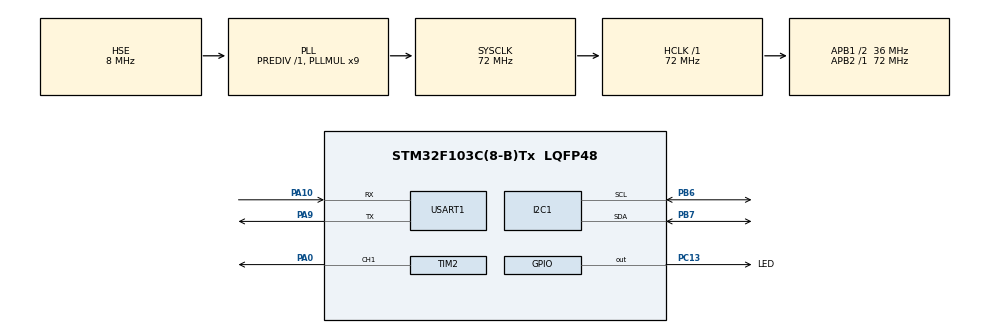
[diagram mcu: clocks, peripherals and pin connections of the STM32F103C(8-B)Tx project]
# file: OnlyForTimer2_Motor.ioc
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Dma.Request0=USART1_RX
Dma.Request1=USART1_TX
Dma.USART1_RX.0.Direction=DMA_PERIPH_TO_MEMORY
Dma.USART1_RX.0.Instance=DMA1_Channel5
Dma.USART1_RX.0.MemDataAlignment=DMA_MDATAALIGN_BYTE
Dma.USART1_RX.0.MemInc=DMA_MINC_ENABLE
Dma.USART1_RX.0.Mode=DMA_CIRCULAR
Dma.USART1_RX.0.PeriphDataAlignment=DMA_PDATAALIGN_BYTE
Dma.USART1_RX.0.PeriphInc=DMA_PINC_DISABLE
Dma.USART1_RX.0.Priority=DMA_PRIORITY_LOW
Dma.USART1_TX.1.Direction=DMA_MEMORY_TO_PERIPH
Dma.USART1_TX.1.Instance=DMA1_Channel4
Dma.USART1_TX.1.MemDataAlignment=DMA_MDATAALIGN_BYTE
Dma.USART1_TX.1.MemInc=DMA_MINC_ENABLE
Dma.USART1_TX.1.Mode=DMA_NORMAL
Dma.USART1_TX.1.PeriphDataAlignment=DMA_PDATAALIGN_BYTE
Dma.USART1_TX.1.PeriphInc=DMA_PINC_DISABLE
Dma.USART1_TX.1.Priority=DMA_PRIORITY_LOW
Mcu.Family=STM32F1
Mcu.Name=STM32F103C(8-B)Tx
Mcu.Package=LQFP48
NVIC.DMA1_Channel4_IRQn=true\:0\:0\:false\:false\:true\:false\:true
NVIC.DMA1_Channel5_IRQn=true\:0\:0\:false\:false\:true\:false\:true
NVIC.PriorityGroup=NVIC_PRIORITYGROUP_4
NVIC.TIM3_IRQn=true\:13\:0\:true\:false\:true\:true\:true
NVIC.USART1_IRQn=true\:0\:0\:false\:false\:true\:true\:true
PA0-WKUP.Signal=S_TIM2_CH1_ETR
PA10.GPIO_PuPd=GPIO_PULLUP
PA10.Mode=Asynchronous
PA10.Signal=USART1_RX
PA13.Mode=Serial_Wire
PA13.Signal=SYS_JTMS-SWDIO
PA14.Mode=Serial_Wire
PA14.Signal=SYS_JTCK-SWCLK
PA9.Mode=Asynchronous
PA9.Signal=USART1_TX
PB6.Mode=I2C
PB6.Signal=I2C1_SCL
PB7.Mode=I2C
PB7.Signal=I2C1_SDA
PC13-TAMPER-RTC.GPIO_Label=LED
PC13-TAMPER-RTC.Signal=GPIO_Output
PC14-OSC32_IN.Mode=LSE-External-Oscillator
PC14-OSC32_IN.Signal=RCC_OSC32_IN
PC15-OSC32_OUT.Mode=LSE-External-Oscillator
PC15-OSC32_OUT.Signal=RCC_OSC32_OUT
PD0-OSC_IN.Mode=HSE-External-Oscillator
PD0-OSC_IN.Signal=RCC_OSC_IN
PD1-OSC_OUT.Mode=HSE-External-Oscillator
PD1-OSC_OUT.Signal=RCC_OSC_OUT
ProjectManager.HeapSize=0x200
ProjectManager.StackSize=0x400
ProjectManager.TargetToolchain=MDK-ARM V5
RCC.AHBFreq_Value=72000000
RCC.APB1CLKDivider=RCC_HCLK_DIV2
RCC.APB1Freq_Value=36000000
RCC.APB1TimFreq_Value=72000000
RCC.APB2Freq_Value=72000000
RCC.APB2TimFreq_Value=72000000
RCC.HCLKFreq_Value=72000000
RCC.PLLMUL=RCC_PLL_MUL9
RCC.PLLSourceVirtual=RCC_PLLSOURCE_HSE
RCC.SYSCLKFreq_VALUE=72000000
RCC.SYSCLKSource=RCC_SYSCLKSOURCE_PLLCLK
RCC.USBFreq_Value=72000000
SH.S_TIM2_CH1_ETR.0=TIM2_CH1,PWM Generation1 CH1
TIM2.AutoReloadPreload=TIM_AUTORELOAD_PRELOAD_DISABLE
TIM2.Channel-PWM\ Generation1\ CH1=TIM_CHANNEL_1
TIM2.Period=19999
TIM2.Prescaler=71
TIM3.Period=9999
TIM3.Prescaler=7119
USART1.VirtualMode=VM_ASYNC
VP_TIM3_VS_ClockSourceINT.Mode=Internal
board=custom

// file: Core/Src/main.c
/* USER CODE BEGIN Header */
/**
  ******************************************************************************
  * @file           : main.c
  * @brief          : Main program body
  ******************************************************************************
  * @attention
  *
  * Copyright (c) 2022 STMicroelectronics.
  * All rights reserved.
  *
  * This software is licensed under terms that can be found in the LICENSE file
  * in the root directory of this software component.
  * If no LICENSE file comes with this software, it is provided AS-IS.
  *
  ******************************************************************************
  */
/* USER CODE END Header */
#include "main.h"
#include "dma.h"
#include "i2c.h"
#include "tim.h"
#include "usart.h"
#include "gpio.h"

/* USER CODE BEGIN Includes */
#include <stdio.h>
#include <string.h>
#include "sht30_i2c_driver.h"
/* USER CODE END Includes */

void SystemClock_Config(void);

int main(void)
{

  /* MCU Configuration--------------------------------------------------------*/

  /* Reset of all peripherals, Initializes the Flash interface and the Systick. */
  HAL_Init();

  /* USER CODE BEGIN Init */
  memset(I2CRXBuffer,0,sizeof(I2CRXBuffer));
  /* USER CODE END Init */

  /* Configure the system clock */
  SystemClock_Config();

  /* Initialize all configured peripherals */
  MX_GPIO_Init();
  MX_TIM2_Init();
  MX_TIM3_Init();
  MX_DMA_Init();
  MX_USART1_UART_Init();
  MX_I2C1_Init();
  /* USER CODE BEGIN 2 */
  HAL_TIM_PWM_Start(&htim2,TIM_CHANNEL_1);
  // __HAL_TIM_SET_COMPARE(&htim2,TIM_CHANNEL_1,500);

  // HAL_TIM_Base_Start_IT(&htim3);
  /* USER CODE END 2 */

  /* Infinite loop */
  /* USER CODE BEGIN WHILE */
  while (1)
  {
    HAL_Delay(2000);
    HAL_GPIO_TogglePin(GPIOC,LED_Pin);
    __HAL_TIM_SET_COMPARE(&htim2,TIM_CHANNEL_1,500);

    // HAL_Delay(5000);
    // HAL_GPIO_TogglePin(GPIOC,LED_Pin);
    // __HAL_TIM_SET_COMPARE(&htim2,TIM_CHANNEL_1,1500);

    // HAL_Delay(5000);
    // HAL_GPIO_TogglePin(GPIOC,LED_Pin);
    // __HAL_TIM_SET_COMPARE(&htim2,TIM_CHANNEL_1,2000);

    HAL_Delay(2000);
    HAL_GPIO_TogglePin(GPIOC,LED_Pin);
    __HAL_TIM_SET_COMPARE(&htim2,TIM_CHANNEL_1,2500);

    // Measure_TR();
    // printf("Runing...\r\n");
    // HAL_Delay(1000);

    /* USER CODE END WHILE */

  }
}

void SystemClock_Config(void)
{
  RCC_OscInitTypeDef RCC_OscInitStruct = {0};
  RCC_ClkInitTypeDef RCC_ClkInitStruct = {0};

  /** Initializes the RCC Oscillators according to the specified parameters
  * in the RCC_OscInitTypeDef structure.
  */
  RCC_OscInitStruct.OscillatorType = RCC_OSCILLATORTYPE_HSE;
  RCC_OscInitStruct.HSEState = RCC_HSE_ON;
  RCC_OscInitStruct.HSEPredivValue = RCC_HSE_PREDIV_DIV1;
  RCC_OscInitStruct.HSIState = RCC_HSI_ON;
  RCC_OscInitStruct.PLL.PLLState = RCC_PLL_ON;
  RCC_OscInitStruct.PLL.PLLSource = RCC_PLLSOURCE_HSE;
  RCC_OscInitStruct.PLL.PLLMUL = RCC_PLL_MUL9;
  if (HAL_RCC_OscConfig(&RCC_OscInitStruct) != HAL_OK)
  {
    Error_Handler();
  }
  /** Initializes the CPU, AHB and APB buses clocks
  */
  RCC_ClkInitStruct.ClockType = RCC_CLOCKTYPE_HCLK|RCC_CLOCKTYPE_SYSCLK
                              |RCC_CLOCKTYPE_PCLK1|RCC_CLOCKTYPE_PCLK2;
  RCC_ClkInitStruct.SYSCLKSource = RCC_SYSCLKSOURCE_PLLCLK;
  RCC_ClkInitStruct.AHBCLKDivider = RCC_SYSCLK_DIV1;
  RCC_ClkInitStruct.APB1CLKDivider = RCC_HCLK_DIV2;
  RCC_ClkInitStruct.APB2CLKDivider = RCC_HCLK_DIV1;

  if (HAL_RCC_ClockConfig(&RCC_ClkInitStruct, FLASH_LATENCY_2) != HAL_OK)
  {
    Error_Handler();
  }
}

/* USER CODE BEGIN 4 */

void HAL_TIM_PeriodElapsedCallback(TIM_HandleTypeDef *htim)
{
  if (htim == &htim3)
  {
    HAL_TIM_Base_Stop_IT(&htim3);
    HAL_GPIO_TogglePin(GPIOC,LED_Pin);
    Measure_TR();
    // printf("Something is wrong!!!\r\n");
    HAL_TIM_Base_Start_IT(&htim3);
  }
  UNUSED(htim);
}

/* USER CODE END 4 */

void Error_Handler(void)
{
  __disable_irq();
  while (1)
  {
  }
}
